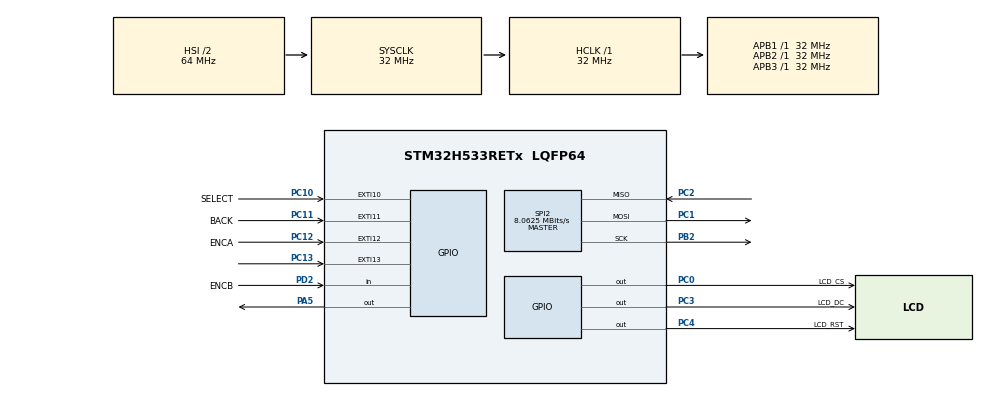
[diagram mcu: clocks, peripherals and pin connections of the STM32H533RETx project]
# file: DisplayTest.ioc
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BOOTPATH.BootPathName=LEGACY
BOOTPATH.UserSelectedBootPath=LEGACY
CORTEX_M33_NS.userName=CORTEX_M33
GPDMA1.DIRECTION_GPDMACH2=DMA_MEMORY_TO_PERIPH
GPDMA1.IPHANDLE_GPDMACH2-SIMPLEREQUEST_GPDMACH2=__NULL
GPDMA1.REQUEST_GPDMACH2=GPDMA1_REQUEST_SPI2_TX
GPDMA1.SRCINC_GPDMACH2=DMA_SINC_INCREMENTED
Mcu.Family=STM32H5
Mcu.Name=STM32H533RETx
Mcu.Package=LQFP64
NUCLEO-H533RE.BUTTON=1
NUCLEO-H533RE.Bsp_Common_DEMO=true
NUCLEO-H533RE.LD4=true
NUCLEO-H533RE.VCP=true
NVIC.EXTI10_IRQn=true\:0\:0\:false\:false\:true\:true\:true\:true
NVIC.EXTI11_IRQn=true\:0\:0\:false\:false\:true\:true\:true\:true
NVIC.EXTI12_IRQn=true\:0\:0\:false\:false\:true\:true\:true\:true
NVIC.EXTI13_IRQn=true\:0\:0\:false\:false\:true\:false\:true\:true
NVIC.GPDMA1_Channel2_IRQn=true\:0\:0\:false\:false\:true\:false\:true\:true
NVIC.PriorityGroup=NVIC_PRIORITYGROUP_4
NVIC.SPI2_IRQn=true\:0\:0\:false\:false\:true\:true\:true\:true
PA13(JTMS/SWDIO).GPIO_Label=SWDIO
PA13(JTMS/SWDIO).Signal=DEBUG_JTMS-SWDIO
PA14(JTCK/SWCLK).GPIO_Label=SWCLK
PA14(JTCK/SWCLK).Signal=DEBUG_JTCK-SWCLK
PA15(JTDI).GPIO_Label=JTDI
PA15(JTDI).Signal=DEBUG_JTDI
PA2.Signal=USART2_TX
PA3.Signal=USART2_RX
PA5.Signal=GPIO_Output
PB2.Mode=Full_Duplex_Master
PB2.Signal=SPI2_SCK
PB3(JTDO/TRACESWO).GPIO_Label=SWO
PB3(JTDO/TRACESWO).Signal=DEBUG_JTDO-SWO
PC0.GPIO_Label=LCD_CS
PC0.Signal=GPIO_Output
PC1.Mode=Full_Duplex_Master
PC1.Signal=SPI2_MOSI
PC10.GPIO_Label=SELECT
PC10.Signal=GPXTI10
PC11.GPIO_Label=BACK
PC11.Signal=GPXTI11
PC12.GPIO_Label=ENCA
PC12.Signal=GPXTI12
PC13.Signal=GPXTI13
PC2.Mode=Full_Duplex_Master
PC2.Signal=SPI2_MISO
PC3.GPIO_Label=LCD_DC
PC3.Signal=GPIO_Output
PC4.GPIO_Label=LCD_RST
PC4.Signal=GPIO_Output
PD2.GPIO_Label=ENCB
PD2.Signal=GPIO_Input
ProjectManager.HeapSize=0x200
ProjectManager.StackSize=0x400
ProjectManager.TargetToolchain=STM32CubeIDE
RCC.ADCFreq_Value=32000000
RCC.AHBFreq_Value=32000000
RCC.APB1Freq_Value=32000000
RCC.APB1TimFreq_Value=32000000
RCC.APB2Freq_Value=32000000
RCC.APB2TimFreq_Value=32000000
RCC.APB3Freq_Value=32000000
RCC.CSI_VALUE=4000000
RCC.CortexFreq_Value=32000000
RCC.EPOD_VALUE=4000000
RCC.HCLKFreq_Value=32000000
RCC.HSE_VALUE=25000000
RCC.HSI48_VALUE=48000000
RCC.HSI_VALUE=64000000
RCC.LSE_VALUE=32768
RCC.LSIRC_VALUE=32000
RCC.SYSCLKFreq_VALUE=32000000
RCC.USBFreq_Value=48000000
RCC.VCOOutputFreq_Value=516000000
SPI2.BaudRatePrescaler=SPI_BAUDRATEPRESCALER_32
SPI2.CalculateBaudRate=8.0625 MBits/s
SPI2.DataSize=SPI_DATASIZE_8BIT
SPI2.Direction=SPI_DIRECTION_2LINES
SPI2.Mode=SPI_MODE_MASTER
SPI2.VirtualType=VM_MASTER
VP_BOOTPATH_VS_BOOTPATH.Mode=BP_Activate
VP_CORTEX_M33_NS_VS_Hclk.Mode=Hclk_Mode
VP_GPDMA1_VS_GPDMACH2.Mode=SIMPLEREQUEST_GPDMACH2
VP_MEMORYMAP_VS_MEMORYMAP.Mode=CurAppReg
VP_NUCLEO-H533RE_VS_BSP_COMMON.Mode=COMMON
VP_PWR_VS_LPOM.Mode=PowerOptimisation
VP_PWR_VS_SECSignals.Mode=Security/Privilege
board=NUCLEO-H533RE

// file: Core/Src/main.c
/* USER CODE BEGIN Header */
/**
  ******************************************************************************
  * @file           : main.c
  * @brief          : Main program body
  ******************************************************************************
  * @attention
  *
  * Copyright (c) 2025 STMicroelectronics.
  * All rights reserved.
  *
  * This software is licensed under terms that can be found in the LICENSE file
  * in the root directory of this software component.
  * If no LICENSE file comes with this software, it is provided AS-IS.
  *
  ******************************************************************************
  */
/* USER CODE END Header */
#include "main.h"

/* USER CODE BEGIN Includes */
#include "ILI9341_STM32_Driver.h"
#include "ILI9341_GFX.h"
#include "buttons.h"
#include "UI.h"
#include "snow_tiger.h"
#include "Josue.h"
//#include "Connor.h"
#include "Ryan.h"
#include "Rachelle.h"
/* USER CODE END Includes */

/* USER CODE BEGIN PD */

#define Font3Height 20

/* USER CODE END PD */

COM_InitTypeDef BspCOMInit;
__IO uint32_t BspButtonState = BUTTON_RELEASED;

SPI_HandleTypeDef hspi2;
DMA_HandleTypeDef handle_GPDMA1_Channel2;

void SystemClock_Config(void);
static void MX_GPIO_Init(void);
static void MX_GPDMA1_Init(void);
static void MX_SPI2_Init(void);

int main(void)
{

  /* MCU Configuration--------------------------------------------------------*/

  /* Reset of all peripherals, Initializes the Flash interface and the Systick. */
  HAL_Init();

  /* Configure the system clock */
  SystemClock_Config();

  /* Initialize all configured peripherals */
  MX_GPIO_Init();
  MX_GPDMA1_Init();
  MX_SPI2_Init();
  /* USER CODE BEGIN 2 */
  ILI9341_Init();
  HAL_Delay(1000);
  /* USER CODE END 2 */

  /* Initialize leds */
  BSP_LED_Init(LED_GREEN);

  /* Initialize USER push-button, will be used to trigger an interrupt each time it's pressed.*/
  BSP_PB_Init(BUTTON_USER, BUTTON_MODE_EXTI);

  /* Initialize COM1 port (115200, 8 bits (7-bit data + 1 stop bit), no parity */
  BspCOMInit.BaudRate   = 115200;
  BspCOMInit.WordLength = COM_WORDLENGTH_8B;
  BspCOMInit.StopBits   = COM_STOPBITS_1;
  BspCOMInit.Parity     = COM_PARITY_NONE;
  BspCOMInit.HwFlowCtl  = COM_HWCONTROL_NONE;
  if (BSP_COM_Init(COM1, &BspCOMInit) != BSP_ERROR_NONE)
  {
    Error_Handler();
  }

  /* USER CODE BEGIN BSP */

  /* -- Sample board code to send message over COM1 port ---- */
  printf("Welcome to STM32 world !\n\r");

  /* -- Sample board code to switch on leds ---- */
  BSP_LED_On(LED_GREEN);
  ILI9341_FillScreen(WHITE);
  ILI9341_DrawText("DT05! GO TEAM!",FONT4,10,150,BLACK,WHITE);
  //HAL_Delay(2000);
  //ILI9341_DrawImage(Josue, SCREEN_VERTICAL_1);
  //HAL_Delay(2000);
  //ILI9341_DrawImage(Connor, SCREEN_VERTICAL_1);
  //HAL_Delay(2000);
  //ILI9341_DrawImage(Ryan, SCREEN_VERTICAL_1);
  //HAL_Delay(2000);
  //ILI9341_DrawImage(Rachelle, SCREEN_VERTICAL_1);
  //HAL_Delay(2000);
  //ILI9341_FillScreen(BLACK);
  UI_init();
  /* USER CODE END BSP */

  /* Infinite loop */
  /* USER CODE BEGIN WHILE */
  uint8_t drawn = 0;
  uint16_t lineHeight = 0;
  while (1)
  {

    /* -- Sample board code for User push-button in interrupt mode ---- */
    if (BspButtonState == BUTTON_PRESSED)
    {
      /* Update button state */
      BspButtonState = BUTTON_RELEASED;
      /* -- Sample board code to toggle leds ---- */
      BSP_LED_Toggle(LED_GREEN);
      /* ..... Perform your action ..... */
      ILI9341_Init();
//      ILI9341_FillScreen(WHITE);

//      for(int x = 0; x < 12; x++){
//    	  int margin = 10;
//   	  if( x % 2)
//    		  ILI9341_DrawRectangle(margin*x,margin*x,240-margin*x*2,320-margin*x*2,CYAN);
//    	  else
//    		  ILI9341_DrawRectangle(margin*x,margin*x,240-margin*x*2,320-margin*x*2,NAVY);
//      }
//      ILI9341_FillScreen(BLACK);
//      lineHeight = 0;
      UI_init();
    }
    if (selectPressed == 1)
    {
    	selectPressed = 0;
    	handleSelect();
    	/*
    	BSP_LED_Toggle(LED_GREEN);
    	selectPressed = 0;
    	ILI9341_DrawText("SELECT           ",FONT3,0,lineHeight,WHITE,BLACK);
    	drawn = 1;
    	*/
    }
    if (backPressed == 1)
    {
    	backPressed = 0;
    	handleBack();
    	/*
    	BSP_LED_Toggle(LED_GREEN);
    	backPressed = 0;
    	ILI9341_DrawText("BACK             ",FONT3,0,lineHeight,WHITE,BLACK);
    	drawn = 1;
    	*/
    }
    if (encoderState == CW)
    {
    	encoderState = NONE;
    	handleEncoder(0);
    	/*
    	BSP_LED_Toggle(LED_GREEN);
    	encoderState = NONE;
    	ILI9341_DrawText("Clockwise        ",FONT3,0,lineHeight,WHITE,BLACK);
    	drawn = 1;
    	*/
    }
    else if (encoderState == CCW)
    {
    	encoderState = NONE;
    	handleEncoder(1);
    	/*
    	BSP_LED_Toggle(LED_GREEN);
    	encoderState = NONE;
    	ILI9341_DrawText("Counter-Clockwise",FONT3,0,lineHeight,WHITE,BLACK);
    	drawn = 1;
    	*/
    }
    /*
    if (drawn == 1){
    	lineHeight += Font3Height;
    	if (lineHeight > 300)
    		lineHeight = 0;
    	drawn = 0;
    }
    */
    HAL_Delay(10);

    /* USER CODE END WHILE */

  }
}

void SystemClock_Config(void)
{
  RCC_OscInitTypeDef RCC_OscInitStruct = {0};
  RCC_ClkInitTypeDef RCC_ClkInitStruct = {0};

  /** Configure the main internal regulator output voltage
  */
  __HAL_PWR_VOLTAGESCALING_CONFIG(PWR_REGULATOR_VOLTAGE_SCALE3);

  while(!__HAL_PWR_GET_FLAG(PWR_FLAG_VOSRDY)) {}

  /** Initializes the RCC Oscillators according to the specified parameters
  * in the RCC_OscInitTypeDef structure.
  */
  RCC_OscInitStruct.OscillatorType = RCC_OSCILLATORTYPE_HSI|RCC_OSCILLATORTYPE_CSI;
  RCC_OscInitStruct.HSIState = RCC_HSI_ON;
  RCC_OscInitStruct.HSIDiv = RCC_HSI_DIV2;
  RCC_OscInitStruct.HSICalibrationValue = RCC_HSICALIBRATION_DEFAULT;
  RCC_OscInitStruct.CSIState = RCC_CSI_ON;
  RCC_OscInitStruct.CSICalibrationValue = RCC_CSICALIBRATION_DEFAULT;
  RCC_OscInitStruct.PLL.PLLState = RCC_PLL_ON;
  RCC_OscInitStruct.PLL.PLLSource = RCC_PLL1_SOURCE_CSI;
  RCC_OscInitStruct.PLL.PLLM = 1;
  RCC_OscInitStruct.PLL.PLLN = 129;
  RCC_OscInitStruct.PLL.PLLP = 2;
  RCC_OscInitStruct.PLL.PLLQ = 2;
  RCC_OscInitStruct.PLL.PLLR = 2;
  RCC_OscInitStruct.PLL.PLLRGE = RCC_PLL1_VCIRANGE_2;
  RCC_OscInitStruct.PLL.PLLVCOSEL = RCC_PLL1_VCORANGE_WIDE;
  RCC_OscInitStruct.PLL.PLLFRACN = 0;
  if (HAL_RCC_OscConfig(&RCC_OscInitStruct) != HAL_OK)
  {
    Error_Handler();
  }

  /** Initializes the CPU, AHB and APB buses clocks
  */
  RCC_ClkInitStruct.ClockType = RCC_CLOCKTYPE_HCLK|RCC_CLOCKTYPE_SYSCLK
                              |RCC_CLOCKTYPE_PCLK1|RCC_CLOCKTYPE_PCLK2
                              |RCC_CLOCKTYPE_PCLK3;
  RCC_ClkInitStruct.SYSCLKSource = RCC_SYSCLKSOURCE_HSI;
  RCC_ClkInitStruct.AHBCLKDivider = RCC_SYSCLK_DIV1;
  RCC_ClkInitStruct.APB1CLKDivider = RCC_HCLK_DIV1;
  RCC_ClkInitStruct.APB2CLKDivider = RCC_HCLK_DIV1;
  RCC_ClkInitStruct.APB3CLKDivider = RCC_HCLK_DIV1;

  if (HAL_RCC_ClockConfig(&RCC_ClkInitStruct, FLASH_LATENCY_1) != HAL_OK)
  {
    Error_Handler();
  }

  /** Configure the programming delay
  */
  __HAL_FLASH_SET_PROGRAM_DELAY(FLASH_PROGRAMMING_DELAY_0);
}

static void MX_GPDMA1_Init(void)
{

  /* Peripheral clock enable */
  __HAL_RCC_GPDMA1_CLK_ENABLE();

  /* GPDMA1 interrupt Init */
    HAL_NVIC_SetPriority(GPDMA1_Channel2_IRQn, 0, 0);
    HAL_NVIC_EnableIRQ(GPDMA1_Channel2_IRQn);

}

static void MX_SPI2_Init(void)
{

  /* SPI2 parameter configuration*/
  hspi2.Instance = SPI2;
  hspi2.Init.Mode = SPI_MODE_MASTER;
  hspi2.Init.Direction = SPI_DIRECTION_2LINES;
  hspi2.Init.DataSize = SPI_DATASIZE_8BIT;
  hspi2.Init.CLKPolarity = SPI_POLARITY_LOW;
  hspi2.Init.CLKPhase = SPI_PHASE_1EDGE;
  hspi2.Init.NSS = SPI_NSS_SOFT;
  hspi2.Init.BaudRatePrescaler = SPI_BAUDRATEPRESCALER_32;
  hspi2.Init.FirstBit = SPI_FIRSTBIT_MSB;
  hspi2.Init.TIMode = SPI_TIMODE_DISABLE;
  hspi2.Init.CRCCalculation = SPI_CRCCALCULATION_DISABLE;
  hspi2.Init.CRCPolynomial = 0x7;
  hspi2.Init.NSSPMode = SPI_NSS_PULSE_ENABLE;
  hspi2.Init.NSSPolarity = SPI_NSS_POLARITY_LOW;
  hspi2.Init.FifoThreshold = SPI_FIFO_THRESHOLD_01DATA;
  hspi2.Init.MasterSSIdleness = SPI_MASTER_SS_IDLENESS_00CYCLE;
  hspi2.Init.MasterInterDataIdleness = SPI_MASTER_INTERDATA_IDLENESS_00CYCLE;
  hspi2.Init.MasterReceiverAutoSusp = SPI_MASTER_RX_AUTOSUSP_DISABLE;
  hspi2.Init.MasterKeepIOState = SPI_MASTER_KEEP_IO_STATE_DISABLE;
  hspi2.Init.IOSwap = SPI_IO_SWAP_DISABLE;
  hspi2.Init.ReadyMasterManagement = SPI_RDY_MASTER_MANAGEMENT_INTERNALLY;
  hspi2.Init.ReadyPolarity = SPI_RDY_POLARITY_HIGH;
  if (HAL_SPI_Init(&hspi2) != HAL_OK)
  {
    Error_Handler();
  }

}

static void MX_GPIO_Init(void)
{
  GPIO_InitTypeDef GPIO_InitStruct = {0};

  /* GPIO Ports Clock Enable */
  __HAL_RCC_GPIOC_CLK_ENABLE();
  __HAL_RCC_GPIOB_CLK_ENABLE();
  __HAL_RCC_GPIOA_CLK_ENABLE();
  __HAL_RCC_GPIOD_CLK_ENABLE();

  /*Configure GPIO pin Output Level */
  HAL_GPIO_WritePin(GPIOC, LCD_CS_Pin|LCD_DC_Pin|LCD_RST_Pin, GPIO_PIN_RESET);

  /*Configure GPIO pins : LCD_CS_Pin LCD_DC_Pin LCD_RST_Pin */
  GPIO_InitStruct.Pin = LCD_CS_Pin|LCD_DC_Pin|LCD_RST_Pin;
  GPIO_InitStruct.Mode = GPIO_MODE_OUTPUT_PP;
  GPIO_InitStruct.Pull = GPIO_NOPULL;
  GPIO_InitStruct.Speed = GPIO_SPEED_FREQ_LOW;
  HAL_GPIO_Init(GPIOC, &GPIO_InitStruct);

  /*Configure GPIO pins : SELECT_Pin BACK_Pin ENCA_Pin */
  GPIO_InitStruct.Pin = SELECT_Pin|BACK_Pin|ENCA_Pin;
  GPIO_InitStruct.Mode = GPIO_MODE_IT_RISING;
  GPIO_InitStruct.Pull = GPIO_NOPULL;
  HAL_GPIO_Init(GPIOC, &GPIO_InitStruct);

  /*Configure GPIO pin : ENCB_Pin */
  GPIO_InitStruct.Pin = ENCB_Pin;
  GPIO_InitStruct.Mode = GPIO_MODE_INPUT;
  GPIO_InitStruct.Pull = GPIO_NOPULL;
  HAL_GPIO_Init(ENCB_GPIO_Port, &GPIO_InitStruct);

  /* EXTI interrupt init*/
  HAL_NVIC_SetPriority(EXTI10_IRQn, 0, 0);
  HAL_NVIC_EnableIRQ(EXTI10_IRQn);

  HAL_NVIC_SetPriority(EXTI11_IRQn, 0, 0);
  HAL_NVIC_EnableIRQ(EXTI11_IRQn);

  HAL_NVIC_SetPriority(EXTI12_IRQn, 0, 0);
  HAL_NVIC_EnableIRQ(EXTI12_IRQn);

}

/**
  * @brief  BSP Push Button callback
  * @param  Button Specifies the pressed button
  * @retval None
  */
void BSP_PB_Callback(Button_TypeDef Button)
{
  if (Button == BUTTON_USER)
  {
    BspButtonState = BUTTON_PRESSED;
  }
}

void Error_Handler(void)
{
  __disable_irq();
  while (1)
  {
  }
}
